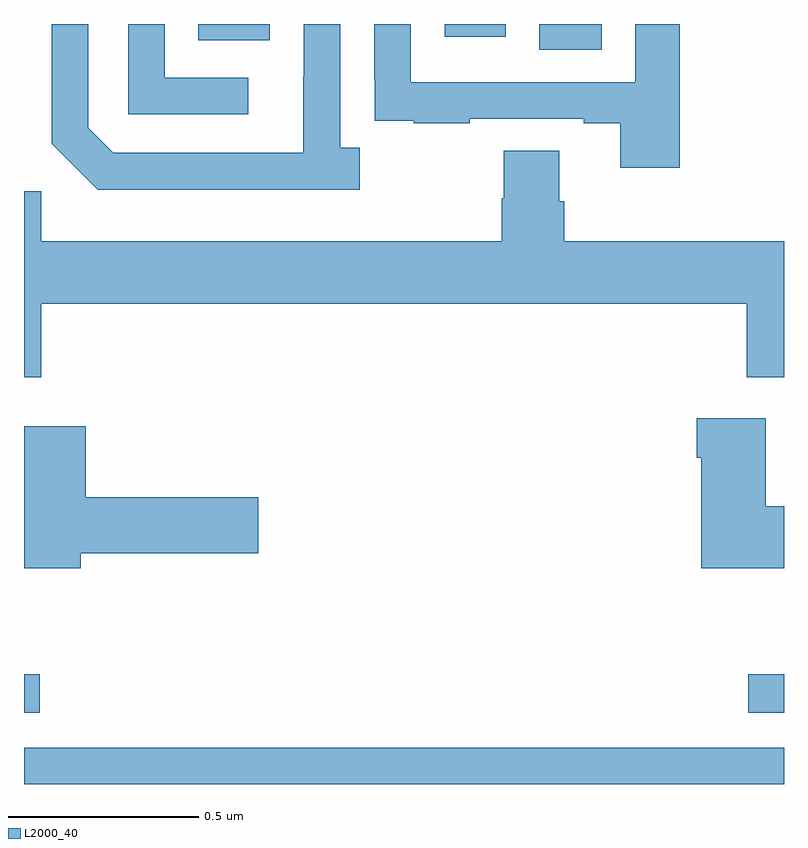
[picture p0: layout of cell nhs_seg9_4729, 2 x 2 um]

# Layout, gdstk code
import gdstk
lib = gdstk.Library(unit=1e-6, precision=1e-09)
def R(c, l, rs):  # rectangles x0, y0, x1, y1
    for r in rs: c.add(gdstk.rectangle(r[:2], r[2:], *l))
def P(c, l, *ps):  # polygons
    for p in ps: c.add(gdstk.Polygon(p, *l))
L2000_40 = (2000, 40)

nhs_seg9_4729 = lib.new_cell('nhs_seg9_4729')
R(nhs_seg9_4729, L2000_40, [(170,1184.5,172,1184.596), (170,1184.688,170.041,1184.789), (171.906,1184.688,172,1184.789), (171.356,1186.432,171.52,1186.5), (170.459,1186.457,170.647,1186.5), (171.107,1186.467,171.268,1186.5)])
P(nhs_seg9_4729, L2000_40, [(170.59,1186.359),(170.37,1186.359),(170.37,1186.5),(170.274,1186.5),(170.274,1186.263),(170.59,1186.263)],
  [(170.884,1186.174),(170.832,1186.174),(170.832,1186.5),(170.736,1186.5),(170.736,1186.361),(170.735,1186.361),(170.735,1186.161),(170.235,1186.161),(170.169,1186.227),(170.169,1186.5),(170.073,1186.5),(170.073,1186.185),(170.194,1186.064),(170.884,1186.064)],
  [(171.725,1186.5),(171.609,1186.5),(171.609,1186.347),(171.018,1186.347),(171.018,1186.5),(170.922,1186.5),(170.922,1186.354),(170.923,1186.354),(170.923,1186.245),(171.025,1186.245),(171.025,1186.239),(171.173,1186.239),(171.173,1186.251),(171.473,1186.251),(171.473,1186.239),(171.569,1186.239),(171.569,1186.122),(171.725,1186.122)],
  [(170.045,1185.764),(171.902,1185.764),(171.902,1185.57),(172,1185.57),(172,1185.928),(171.422,1185.928),(171.422,1186.034),(171.409,1186.034),(171.409,1186.166),(171.262,1186.166),(171.262,1186.041),(171.257,1186.041),(171.257,1185.928),(170.046,1185.928),(170.046,1186.06),(170,1186.06),(170,1185.57),(170.045,1185.57)],
  [(172,1185.231),(171.952,1185.231),(171.952,1185.463),(171.77,1185.463),(171.77,1185.359),(171.782,1185.359),(171.782,1185.068),(172,1185.068)],
  [(170.149,1185.107),(170.617,1185.107),(170.617,1185.254),(170.162,1185.254),(170.162,1185.442),(170,1185.442),(170,1185.068),(170.149,1185.068)])

lib.write_gds('nhs_seg9_4729.gds')
